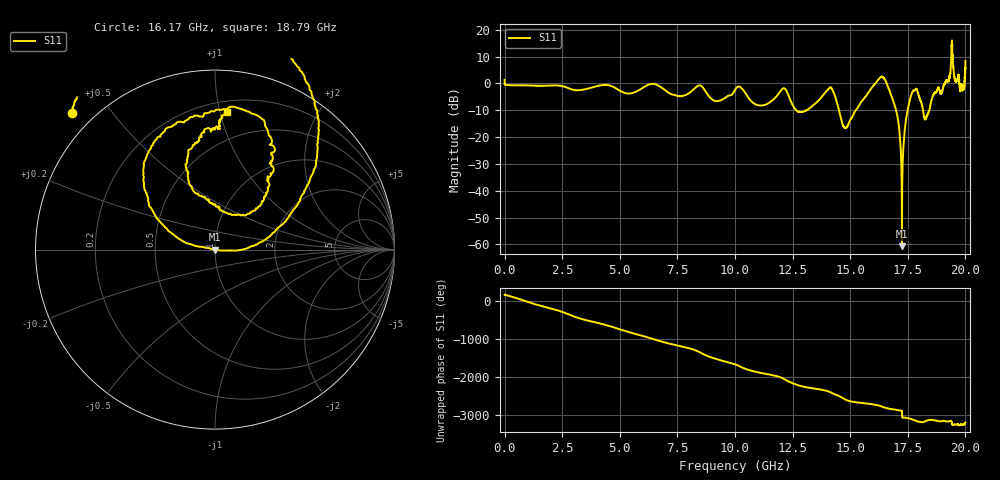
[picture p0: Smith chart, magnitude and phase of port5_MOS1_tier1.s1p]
! Created with skrf 1.8.0 (http://scikit-rf.org).
# GHz S RI R 50.0
!freq ReS11 ImS11
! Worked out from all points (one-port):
!   10001 points, 1 MHz to 20 GHz, reference 50 ohm
!   lowest |S11| = -60.7 dB at 17.25 GHz (marker M1), VSWR 1.00, Z = 50 - j0.0825 ohm
!   |S11| at or under -10 dB: 12.65 GHz to 13.11 GHz (456.5 MHz wide, 3.54 % of centre); 14.51 GHz to 15.24 GHz (725.2 MHz wide, 4.88 % of centre); 16.99 GHz to 17.49 GHz (500.4 MHz wide, 2.9 % of centre) (the widest 3 of 4)
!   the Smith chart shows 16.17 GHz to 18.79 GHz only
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0.001  -1.164 0.0157
0.4969752  -0.0101 0.9225
0.9029549  0.9076 0.1415
1.368932  0.1226 -0.8909
1.900905  -0.8911 -0.1704
2.500875  0.1063 0.8833
3.21084  0.1259 -0.7316
3.926804  -0.85 0.1806
4.458777  0.0656 0.9283
5.00075  0.6923 -0.2327
5.912704  -0.7834 -0.000722
6.432678  0.0459 0.9809
7.500625  0.0483 -0.5873
8.464577  -0.1104 0.9118
9.160542  0.0948 -0.4582
10.0005  -0.5774 0.4841
10.42248  0.6313 0.2706
11.9184  -0.6457 0.1593
12.50038  0.3941 -0.024
14.19829  -0.1525 0.7905
15.00025  -0.1069 -0.1775
16.39218  -0.14 1.314
17.24614  0.000421 -0.000824
17.50013  -0.297 0.144
19.31603  0.3956 1.221
19.52202  1.242 -0.411
19.83001  0.9113 -0.3116
20  2.001 1.668
